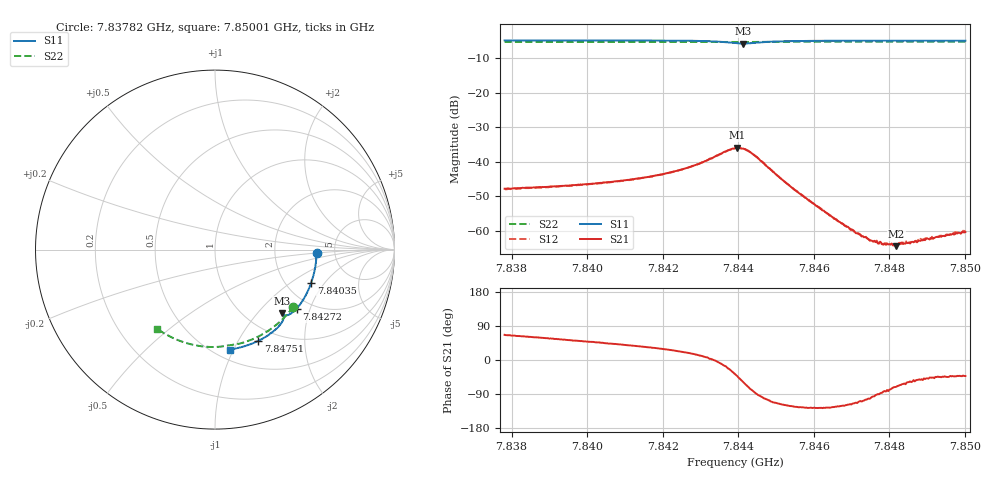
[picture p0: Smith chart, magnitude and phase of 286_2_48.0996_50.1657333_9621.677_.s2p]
#  HZ  S  RI  R  50.00
! Rohde & Schwarz Vector Network Analyzer
! Rohde-Schwarz,ZNB20-2Port,1311601062101988,3.16
! Created: UTC 12/23/2023, 4:03:17 AM
! freq[Hz]  re:S11  im:S11  re:S21  im:S21  re:S12  im:S12  re:S22  im:S22
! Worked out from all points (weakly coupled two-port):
!   401 points, 7.83782 GHz to 7.85001 GHz, reference 50 ohm
!   highest |S21| = -35.95 dB at 7.84397 GHz (marker M1); lowest = -64.5 dB at 7.84818 GHz (marker M2)
!   lowest |S11| = -5.8 dB at 7.84413 GHz (marker M3), VSWR 3.10, Z = 70.9 - j67.9 ohm
!   |S11| at or under -10 dB: nowhere
!   |S22| runs from -5.4 to -5.3 dB; largest |S21 - S12| = 0.00029
!   S11 on the Smith chart (normalised r, x): 7.83782 GHz: 3.60, -0.20; 7.84035 GHz: 2.72, -1.48; 7.84272 GHz: 1.69, -1.62; 7.84751 GHz: 0.82, -1.22; 7.85001 GHz: 0.59, -0.96
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7.837815e9  0.5664 -0.0184  0.00163 0.00371  0.00167 0.00365  0.4364 -0.3177
7.839858e9  0.5459 -0.1529  0.00298 0.00356  0.00295 0.00354  0.3383 -0.4216
7.840346e9  0.5362 -0.1844  0.00343 0.00353  0.00339 0.00348  0.3113 -0.4424
7.841169e9  0.5149 -0.2362  0.00433 0.00343  0.00427 0.0034  0.2623 -0.4733
7.8419e9  0.4905 -0.281  0.00555 0.00328  0.00549 0.00322  0.2164 -0.4962
7.842723e9  0.4544 -0.3297  0.00799 0.00254  0.00795 0.0026  0.1622 -0.5167
7.843455e9  0.4068 -0.3641  0.0122 -0.00111  0.0123 -0.00107  0.1121 -0.5287
7.843912e9  0.3733 -0.3612  0.0124 -0.00949  0.0125 -0.00929  0.0817 -0.5328
7.843973e9  0.3713 -0.3586  0.0117 -0.0108  0.0116 -0.0105  0.0777 -0.5331
7.844125e9  0.3713 -0.3529  0.00814 -0.0131  0.00823 -0.0131  0.0682 -0.5345
7.8444e9  0.3808 -0.3562  0.00162 -0.0125  0.00171 -0.0126  0.0507 -0.5376
7.845345e9  0.3623 -0.4192  -0.00234 -0.00388  -0.00233 -0.0039  -0.0154 -0.5427
7.845954e9  0.3311 -0.451  -0.00151 -0.00203  -0.00149 -0.00205  -0.0585 -0.5405
7.846472e9  0.3022 -0.473  -0.000904 -0.00131  -0.000911 -0.0013  -0.0946 -0.5358
7.847021e9  0.27 -0.4932  -0.000434 -0.000928  -0.000443 -0.000931  -0.1323 -0.5281
7.847509e9  0.2407 -0.5086  -0.00012 -0.000715  -0.000134 -0.000715  -0.1654 -0.519
7.847844e9  0.2202 -0.518  7.96e-05 -0.000625  4.57e-05 -0.000644  -0.1878 -0.5116
7.847997e9  0.2106 -0.522  0.000131 -0.000628  0.000141 -0.000633  -0.1978 -0.5078
7.848179e9  0.1992 -0.5264  0.000197 -0.000564  0.000199 -0.000575  -0.2097 -0.5031
7.848301e9  0.1916 -0.5293  0.000275 -0.000609  0.000274 -0.000585  -0.2176 -0.4998
7.84949e9  0.1151 -0.5509  0.000607 -0.000591  0.000639 -0.000596  -0.2916 -0.4613
7.850008e9  0.0811 -0.5567  0.000705 -0.000642  0.000741 -0.000681  -0.3217 -0.4412
